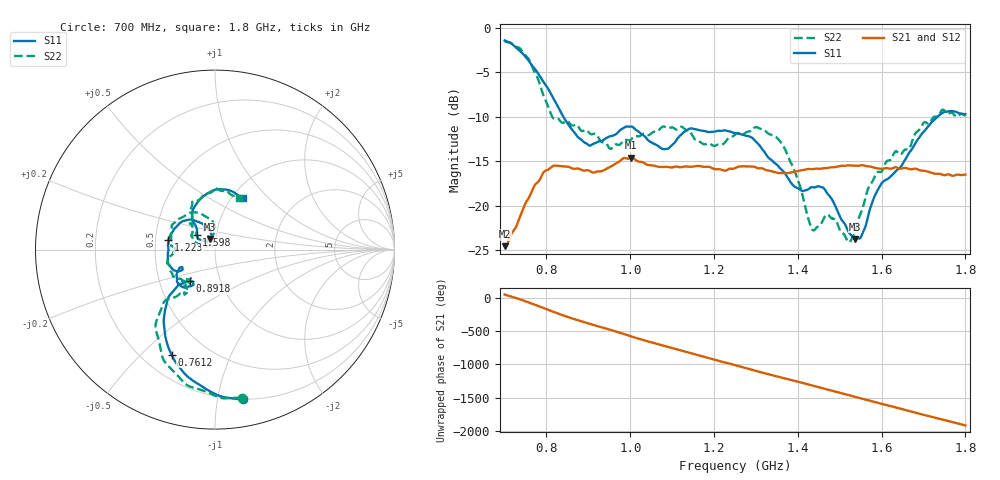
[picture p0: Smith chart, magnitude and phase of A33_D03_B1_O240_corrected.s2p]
! Created with skrf 1.9.0 (http://scikit-rf.org).
# Hz S RI R 50.0
!freq ReS11 ImS11 ReS21 ImS21 ReS12 ImS12 ReS22 ImS22
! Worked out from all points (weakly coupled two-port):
!   1601 points, 700 MHz to 1.8 GHz, reference 50 ohm
!   highest |S21| = -14.63 dB at 1.002 GHz (marker M1); lowest = -24.6 dB at 701.4 MHz (marker M2)
!   lowest |S11| = -23.7 dB at 1.536 GHz (marker M3), VSWR 1.14, Z = 47.1 + j5.59 ohm
!   |S11| at or under -10 dB: 840 MHz to 1.734 GHz (893.7 MHz wide, 69.4 % of centre)
!   |S22| runs from -24.1 to -1.5 dB; largest |S21 - S12| = 0.0036
!   S11 on the Smith chart (normalised r, x): 700 MHz: 0.20, -1.19; 761.2 MHz: 0.32, -0.62; 891.8 MHz: 0.71, -0.27; 1.223 GHz: 0.58, +0.06; 1.598 GHz: 0.80, +0.13; 1.8 GHz: 1.12, +0.72
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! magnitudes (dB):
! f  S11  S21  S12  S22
! 700 MHz  -1.4  -24.5  -24.3  -1.5
! 701.4 MHz  -1.5  -24.6  -24.2  -1.5
! 761.2 MHz  -4.0  -18.8  -18.7  -3.9
! 814.8 MHz  -7.8  -15.6  -15.6  -10.1
! 883.6 MHz  -12.6  -16.0  -15.9  -11.6
! 891.8 MHz  -12.9  -16.1  -16.1  -11.5
! 952.3 MHz  -12.2  -15.6  -15.6  -13.6
! 1.002 GHz  -11.1  -14.6  -14.7  -12.5
! 1.067 GHz  -13.3  -15.6  -15.6  -11.5
! 1.223 GHz  -11.5  -16.1  -16.1  -13.0
! 1.25 GHz  -11.8  -15.8  -15.7  -12.0
! 1.357 GHz  -15.7  -16.3  -16.3  -12.7
! 1.394 GHz  -17.9  -16.2  -16.2  -16.4
! 1.434 GHz  -17.9  -15.9  -15.9  -22.7
! 1.471 GHz  -18.7  -15.8  -15.8  -21.0
! 1.521 GHz  -22.9  -15.5  -15.5  -24.1
! 1.536 GHz  -23.7  -15.5  -15.5  -23.0
! 1.569 GHz  -20.9  -15.6  -15.6  -17.9
! 1.598 GHz  -17.7  -15.9  -15.8  -16.2
! 1.617 GHz  -16.9  -15.8  -15.8  -14.9
! 1.738 GHz  -9.8  -16.4  -16.5  -9.7
! 1.8 GHz  -9.7  -16.5  -16.5  -9.9
